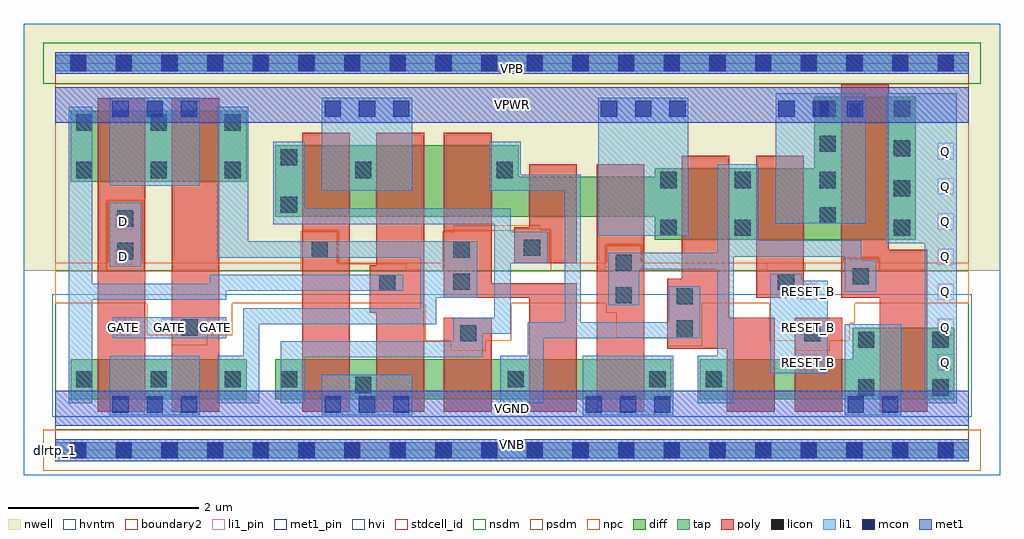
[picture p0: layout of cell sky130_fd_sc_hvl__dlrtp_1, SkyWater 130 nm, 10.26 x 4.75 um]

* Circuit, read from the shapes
.subckt sky130_fd_sc_hvl__dlrtp_1 D GATE Q RESET_B VGND VNB VPB VPWR
XM1 VGND D n1 VNB sky130_fd_pr__nfet_g5v0d10v5 w=0.42 l=0.5
XM2 n2 GATE VGND VNB sky130_fd_pr__nfet_g5v0d10v5 w=0.42 l=0.5
XM3 VGND n2 n3 VNB sky130_fd_pr__nfet_g5v0d10v5 w=0.42 l=0.5
XM4 n4 n1 VGND VNB sky130_fd_pr__nfet_g5v0d10v5 w=0.42 l=0.5
XM5 n5 n3 n4 VNB sky130_fd_pr__nfet_g5v0d10v5 w=0.42 l=0.5
XM6 n6 n2 n5 VNB sky130_fd_pr__nfet_g5v0d10v5 w=0.42 l=0.5
XM7 VGND n7 n6 VNB sky130_fd_pr__nfet_g5v0d10v5 w=0.42 l=0.5
XM8 n8 n5 n7 VNB sky130_fd_pr__nfet_g5v0d10v5 w=0.42 l=0.5
XM9 VGND RESET_B n8 VNB sky130_fd_pr__nfet_g5v0d10v5 w=0.42 l=0.5
XM10 Q n7 VGND VNB sky130_fd_pr__nfet_g5v0d10v5 w=0.75 l=0.5
XM11 VPWR D n1 VPB sky130_fd_pr__pfet_g5v0d10v5 w=0.75 l=0.5
XM12 n2 GATE VPWR VPB sky130_fd_pr__pfet_g5v0d10v5 w=0.75 l=0.5
XM13 VPWR n2 n3 VPB sky130_fd_pr__pfet_g5v0d10v5 w=0.75 l=0.5
XM14 n9 n1 VPWR VPB sky130_fd_pr__pfet_g5v0d10v5 w=0.75 l=0.5
XM15 n5 n2 n9 VPB sky130_fd_pr__pfet_g5v0d10v5 w=0.75 l=0.5
XM16 n10 n3 n5 VPB sky130_fd_pr__pfet_g5v0d10v5 w=0.42 l=0.5
XM17 VPWR n7 n10 VPB sky130_fd_pr__pfet_g5v0d10v5 w=0.42 l=0.5
XM18 n7 n5 VPWR VPB sky130_fd_pr__pfet_g5v0d10v5 w=0.75 l=0.5
XM19 VPWR RESET_B n7 VPB sky130_fd_pr__pfet_g5v0d10v5 w=0.75 l=0.5
XM20 Q n7 VPWR VPB sky130_fd_pr__pfet_g5v0d10v5 w=1.5 l=0.5
.ends

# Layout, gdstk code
import gdstk
lib = gdstk.Library(unit=1e-6, precision=1e-09)
def R(c, l, rs):  # rectangles x0, y0, x1, y1
    for r in rs: c.add(gdstk.rectangle(r[:2], r[2:], *l))
def A(c, l, x, y, w, h, nx, ny, dx, dy):  # array of equal rectangles
    R(c, l, [(x+i*dx, y+j*dy, x+i*dx+w, y+j*dy+h) for i in range(nx) for j in range(ny)])
def P(c, l, *ps):  # polygons
    for p in ps: c.add(gdstk.Polygon(p, *l))
nwell = (64, 20)
diff = (65, 20)
tap = (65, 44)
poly = (66, 20)
licon = (66, 44)
li1_pin = (67, 16)
li1 = (67, 20)
mcon = (67, 44)
met1_pin = (68, 16)
met1 = (68, 20)
hvi = (75, 20)
stdcell_id = (81, 4)
nsdm = (93, 44)
psdm = (94, 20)
npc = (95, 20)
hvntm = (125, 20)
boundary2 = (236, 0)

sky130_fd_sc_hvl__dlrtp_ = lib.new_cell('sky130_fd_sc_hvl__dlrtp_1')
R(sky130_fd_sc_hvl__dlrtp_, nwell, [(-0.33,1.885,9.93,4.485)])
R(sky130_fd_sc_hvl__dlrtp_, diff, [(0.16,0.535,2.01,0.955), (2.31,0.535,6.475,0.955), (0.16,2.82,2.01,3.57)])
P(sky130_fd_sc_hvl__dlrtp_, diff, [(9.045,3.715),(7.975,3.715),(7.975,2.965),(6.3,2.965),(6.3,2.875),(4.87,2.875),(4.87,3.205),(2.31,3.205),(2.31,2.455),(6.3,2.455),(6.3,2.215),(9.045,2.215)],
  [(9.45,1.285),(8.38,1.285),(8.38,0.955),(6.775,0.955),(6.775,0.535),(9.45,0.535)])
R(sky130_fd_sc_hvl__dlrtp_, tap, [(0,-0.085,9.6,0.085), (0,3.985,9.6,4.155)])
R(sky130_fd_sc_hvl__dlrtp_, poly, [(0.445,0.405,0.945,3.7), (1.225,0.405,1.725,3.7), (2.595,0.405,3.095,3.335), (4.085,0.405,4.585,1.395), (5.69,0.405,6.19,3.005), (7.77,0.405,8.27,1.395), (7.365,1.605,7.865,3.095)])
P(sky130_fd_sc_hvl__dlrtp_, poly, [(3.875,3.335),(3.375,3.335),(3.375,1.945),(3.305,1.945),(3.305,1.445),(3.375,1.445),(3.375,0.405),(3.875,0.405)],
  [(5.48,3.005),(4.98,3.005),(4.98,2.345),(4.825,2.345),(4.825,1.965),(5.48,1.965)],
  [(5.48,1.755),(4.585,1.755),(4.585,3.335),(4.085,3.335),(4.085,1.605),(4.98,1.605),(4.98,0.405),(5.48,0.405)],
  [(7.56,1.395),(7.085,1.395),(7.085,3.095),(6.585,3.095),(6.585,1.805),(6.43,1.805),(6.43,1.065),(7.06,1.065),(7.06,0.405),(7.56,0.405)],
  [(9.165,2.105),(8.76,2.105),(8.76,3.845),(8.26,3.845),(8.26,1.605),(8.665,1.605),(8.665,0.405),(9.165,0.405)])
A(sky130_fd_sc_hvl__dlrtp_, licon, 0.155, -0.085, 0.17, 0.17, 20, 2, 0.48, 4.07)
A(sky130_fd_sc_hvl__dlrtp_, licon, 0.22, 0.66, 0.17, 0.17, 3, 2, 0.78, 2.2)
A(sky130_fd_sc_hvl__dlrtp_, licon, 0.22, 3.36, 0.17, 0.17, 3, 1, 0.78, 0)
R(sky130_fd_sc_hvl__dlrtp_, licon, [(8.44,0.575,8.61,0.745), (9.22,0.575,9.39,0.745), (3.15,0.6,3.32,0.77), (2.37,0.66,2.54,0.83), (4.755,0.66,4.925,0.83), (6.245,0.66,6.415,0.83), (6.835,0.66,7.005,0.83), (8.44,1.075,8.61,1.245), (9.22,1.075,9.39,1.245), (4.255,1.145,4.425,1.315), (7.87,1.145,8.04,1.315), (6.53,1.195,6.7,1.365), (1.325,1.205,1.495,1.375), (6.53,1.535,6.7,1.705), (5.89,1.545,6.06,1.715), (3.405,1.675,3.575,1.845), (4.185,1.685,4.355,1.855), (7.595,1.685,7.765,1.855), (8.38,1.745,8.55,1.915), (5.89,1.885,6.06,2.055), (0.65,2.01,0.82,2.18), (2.695,2.025,2.865,2.195), (4.185,2.025,4.355,2.195), (4.925,2.045,5.095,2.215), (6.36,2.255,6.53,2.425), (7.14,2.255,7.31,2.425), (8.815,2.255,8.985,2.425), (0.65,2.35,0.82,2.52), (8.035,2.385,8.205,2.555), (2.37,2.495,2.54,2.665), (8.815,2.67,8.985,2.84), (6.36,2.755,6.53,2.925), (7.14,2.755,7.31,2.925), (8.035,2.755,8.205,2.925), (3.15,2.86,3.32,3.03), (4.64,2.86,4.81,3.03), (2.37,2.995,2.54,3.165), (8.815,3.09,8.985,3.26), (8.035,3.135,8.205,3.305), (8.035,3.505,8.205,3.675), (8.815,3.505,8.985,3.675)])
A(sky130_fd_sc_hvl__dlrtp_, li1_pin, 7.835, 0.84, 0.17, 0.17, 1, 3, 0, 0.37)
A(sky130_fd_sc_hvl__dlrtp_, li1_pin, 9.275, 0.84, 0.17, 0.17, 1, 7, 0, 0.37)
A(sky130_fd_sc_hvl__dlrtp_, li1_pin, 0.635, 1.21, 0.17, 0.17, 3, 1, 0.48, 0)
R(sky130_fd_sc_hvl__dlrtp_, li1_pin, [(0.635,1.95,0.805,2.12), (0.635,2.32,0.805,2.49)])
R(sky130_fd_sc_hvl__dlrtp_, li1, [(0,-0.085,9.6,0.085), (0.57,0.365,1.52,0.995), (2.8,0.365,3.75,0.795), (5.545,0.365,6.495,0.995), (8.3,0.365,8.89,1.325), (0.605,1.175,1.795,1.4), (0.57,1.93,0.9,2.6), (5.705,2.255,6.655,3.705), (7.57,2.385,8.52,3.755), (2.8,2.725,3.75,3.705), (0.57,2.78,1.52,3.705), (0,3.985,9.6,4.155)])
P(sky130_fd_sc_hvl__dlrtp_, li1, [(3.655,1.845),(1.625,1.845),(1.625,1.75),(0.39,1.75),(0.39,3.61),(0.14,3.61),(0.14,0.495),(0.39,0.495),(0.39,1.58),(1.795,1.58),(1.795,1.675),(3.655,1.675)],
  [(4.435,2.195),(2.03,2.195),(2.03,3.61),(1.7,3.61),(1.7,2.025),(3.835,2.025),(3.835,1.495),(1.975,1.495),(1.975,0.995),(1.7,0.995),(1.7,0.495),(2.145,0.495),(2.145,1.325),(4.005,1.325),(4.005,1.605),(4.435,1.605)],
  [(5.175,2.295),(4.785,2.295),(4.785,2.545),(2.62,2.545),(2.62,3.245),(2.29,3.245),(2.29,2.375),(4.615,2.375),(4.615,1.395),(4.185,1.395),(4.185,1.145),(2.37,1.145),(2.37,0.495),(2.62,0.495),(2.62,0.975),(4.495,0.975),(4.495,1.225),(4.785,1.225),(4.785,1.965),(5.175,1.965)],
  [(6.78,1.725),(6.45,1.725),(6.45,1.345),(5.525,1.345),(5.525,2.895),(4.89,2.895),(4.89,3.245),(4.56,3.245),(4.56,2.725),(5.355,2.725),(5.355,1.345),(4.965,1.345),(4.965,0.995),(4.675,0.995),(4.675,0.495),(5.135,0.495),(5.135,1.175),(6.78,1.175)],
  [(8.12,1.78),(7.845,1.78),(7.845,1.855),(7.515,1.855),(7.515,0.81),(8.12,0.81)],
  [(8.63,1.995),(8.47,1.995),(8.47,2.205),(7.39,2.205),(7.39,3.005),(6.96,3.005),(6.96,2.075),(5.81,2.075),(5.81,1.525),(6.14,1.525),(6.14,1.905),(6.96,1.905),(6.96,0.995),(6.755,0.995),(6.755,0.495),(7.13,0.495),(7.13,2.035),(8.3,2.035),(8.3,1.665),(8.63,1.665)],
  [(9.475,3.755),(8.735,3.755),(8.735,2.175),(9.14,2.175),(9.14,0.495),(9.475,0.495)])
A(sky130_fd_sc_hvl__dlrtp_, mcon, 0.6, 0.395, 0.17, 0.17, 3, 2, 0.36, 3.11)
A(sky130_fd_sc_hvl__dlrtp_, mcon, 2.83, 0.395, 0.17, 0.17, 3, 2, 0.36, 3.11)
A(sky130_fd_sc_hvl__dlrtp_, mcon, 5.575, 0.395, 0.17, 0.17, 3, 1, 0.36, 0)
A(sky130_fd_sc_hvl__dlrtp_, mcon, 5.735, 3.505, 0.17, 0.17, 3, 1, 0.36, 0)
A(sky130_fd_sc_hvl__dlrtp_, mcon, 7.6, 3.505, 0.17, 0.17, 3, 1, 0.36, 0)
R(sky130_fd_sc_hvl__dlrtp_, mcon, [(0.155,-0.085,0.325,0.085), (0.155,-0.085,0.325,0.085), (0.635,-0.085,0.805,0.085), (0.635,-0.085,0.805,0.085), (1.115,-0.085,1.285,0.085), (1.115,-0.085,1.285,0.085), (1.595,-0.085,1.765,0.085), (1.595,-0.085,1.765,0.085), (2.075,-0.085,2.245,0.085), (2.075,-0.085,2.245,0.085), (2.555,-0.085,2.725,0.085), (2.555,-0.085,2.725,0.085), (3.035,-0.085,3.205,0.085), (3.035,-0.085,3.205,0.085), (3.515,-0.085,3.685,0.085), (3.515,-0.085,3.685,0.085), (3.995,-0.085,4.165,0.085), (3.995,-0.085,4.165,0.085), (4.475,-0.085,4.645,0.085), (4.475,-0.085,4.645,0.085), (4.955,-0.085,5.125,0.085), (4.955,-0.085,5.125,0.085), (5.435,-0.085,5.605,0.085), (5.435,-0.085,5.605,0.085), (5.915,-0.085,6.085,0.085), (5.915,-0.085,6.085,0.085), (6.395,-0.085,6.565,0.085), (6.395,-0.085,6.565,0.085), (6.875,-0.085,7.045,0.085), (6.875,-0.085,7.045,0.085), (7.355,-0.085,7.525,0.085), (7.355,-0.085,7.525,0.085), (7.835,-0.085,8.005,0.085), (7.835,-0.085,8.005,0.085), (8.315,-0.085,8.485,0.085), (8.315,-0.085,8.485,0.085), (8.795,-0.085,8.965,0.085), (8.795,-0.085,8.965,0.085), (9.275,-0.085,9.445,0.085), (9.275,-0.085,9.445,0.085), (8.33,0.395,8.5,0.565), (8.69,0.395,8.86,0.565), (0.155,3.985,0.325,4.155), (0.155,3.985,0.325,4.155), (0.635,3.985,0.805,4.155), (0.635,3.985,0.805,4.155), (1.115,3.985,1.285,4.155), (1.115,3.985,1.285,4.155), (1.595,3.985,1.765,4.155), (1.595,3.985,1.765,4.155), (2.075,3.985,2.245,4.155), (2.075,3.985,2.245,4.155), (2.555,3.985,2.725,4.155), (2.555,3.985,2.725,4.155), (3.035,3.985,3.205,4.155), (3.035,3.985,3.205,4.155), (3.515,3.985,3.685,4.155), (3.515,3.985,3.685,4.155), (3.995,3.985,4.165,4.155), (3.995,3.985,4.165,4.155), (4.475,3.985,4.645,4.155), (4.475,3.985,4.645,4.155), (4.955,3.985,5.125,4.155), (4.955,3.985,5.125,4.155), (5.435,3.985,5.605,4.155), (5.435,3.985,5.605,4.155), (5.915,3.985,6.085,4.155), (5.915,3.985,6.085,4.155), (6.395,3.985,6.565,4.155), (6.395,3.985,6.565,4.155), (6.875,3.985,7.045,4.155), (6.875,3.985,7.045,4.155), (7.355,3.985,7.525,4.155), (7.355,3.985,7.525,4.155), (7.835,3.985,8.005,4.155), (7.835,3.985,8.005,4.155), (8.315,3.985,8.485,4.155), (8.315,3.985,8.485,4.155), (8.795,3.985,8.965,4.155), (8.795,3.985,8.965,4.155), (9.275,3.985,9.445,4.155), (9.275,3.985,9.445,4.155)])
R(sky130_fd_sc_hvl__dlrtp_, met1_pin, [(0,0,9.6,0.115), (0,0.255,9.6,0.625), (0,3.445,9.6,3.815), (0,3.955,9.6,4.07)])
R(sky130_fd_sc_hvl__dlrtp_, met1, [(0,-0.115,9.6,0.115), (0,0.255,9.6,0.625), (0,3.445,9.6,3.815), (0,3.955,9.6,4.185)])
R(sky130_fd_sc_hvl__dlrtp_, hvi, [(-0.33,-0.265,9.93,4.485)])
R(sky130_fd_sc_hvl__dlrtp_, stdcell_id, [(0,0,9.6,4.07)])
R(sky130_fd_sc_hvl__dlrtp_, nsdm, [(0,0.215,9.6,1.885), (-0.13,3.855,9.73,4.285), (0,3.855,9.6,4.07)])
R(sky130_fd_sc_hvl__dlrtp_, psdm, [(-0.13,-0.215,9.73,0.215)])
P(sky130_fd_sc_hvl__dlrtp_, psdm, [(9.6,3.855),(0,3.855),(0,1.885),(0.54,1.885),(0.54,2.63),(0.93,2.63),(0.93,1.885),(2.585,1.885),(2.585,2.305),(2.975,2.305),(2.975,1.955),(3.685,1.955),(3.685,1.885),(4.075,1.885),(4.075,2.305),(4.815,2.305),(4.815,2.325),(5.205,2.325),(5.205,1.885),(5.78,1.885),(5.78,2.165),(6.17,2.165),(6.17,1.885),(7.485,1.885),(7.485,1.965),(7.875,1.965),(7.875,1.885),(8.27,1.885),(8.27,2.025),(8.66,2.025),(8.66,1.885),(9.6,1.885)])
P(sky130_fd_sc_hvl__dlrtp_, npc, [(9.6,1.97),(8.65,1.97),(8.65,2.015),(8.28,2.015),(8.28,1.97),(6.16,1.97),(6.16,2.155),(5.79,2.155),(5.79,1.97),(5.195,1.97),(5.195,2.315),(5.09,2.315),(5.09,2.365),(4.19,2.365),(4.19,2.295),(4.085,2.295),(4.085,1.97),(2.965,1.97),(2.965,2.295),(2.595,2.295),(2.595,1.97),(0.92,1.97),(0.92,2.62),(0.55,2.62),(0.55,1.97),(0,1.97),(0,1.545),(0.96,1.545),(0.96,1.21),(1.225,1.21),(1.225,1.105),(1.595,1.105),(1.595,1.21),(1.86,1.21),(1.86,1.545),(3.89,1.545),(3.89,1.15),(4.155,1.15),(4.155,1.045),(4.525,1.045),(4.525,1.15),(4.79,1.15),(4.79,1.545),(5.79,1.545),(5.79,1.445),(5.895,1.445),(5.895,1.18),(6.43,1.18),(6.43,1.095),(6.8,1.095),(6.8,1.545),(7.505,1.545),(7.505,1.15),(7.77,1.15),(7.77,1.045),(8.14,1.045),(8.14,1.15),(8.35,1.15),(8.35,1.335),(8.405,1.335),(8.405,1.545),(9.6,1.545)])
R(sky130_fd_sc_hvl__dlrtp_, hvntm, [(-0.035,0.35,9.635,1.64)])
R(sky130_fd_sc_hvl__dlrtp_, boundary2, [(0,0,9.6,4.07)])
sky130_fd_sc_hvl__dlrtp_.add(gdstk.Label('dlrtp_1', (0,0), layer=83, texttype=44))
sky130_fd_sc_hvl__dlrtp_.add(gdstk.Label('VGND', (4.8,0.44), layer=68, texttype=5))
sky130_fd_sc_hvl__dlrtp_.add(gdstk.Label('VNB', (4.8,0.058), layer=68, texttype=5))
sky130_fd_sc_hvl__dlrtp_.add(gdstk.Label('VPWR', (4.8,3.63), layer=68, texttype=5))
sky130_fd_sc_hvl__dlrtp_.add(gdstk.Label('VPB', (4.8,4.013), layer=68, texttype=5))
sky130_fd_sc_hvl__dlrtp_.add(gdstk.Label('D', (0.72,2.035), layer=67, texttype=5))
sky130_fd_sc_hvl__dlrtp_.add(gdstk.Label('D', (0.72,2.405), layer=67, texttype=5))
sky130_fd_sc_hvl__dlrtp_.add(gdstk.Label('GATE', (0.72,1.295), layer=67, texttype=5))
sky130_fd_sc_hvl__dlrtp_.add(gdstk.Label('GATE', (1.2,1.295), layer=67, texttype=5))
sky130_fd_sc_hvl__dlrtp_.add(gdstk.Label('GATE', (1.68,1.295), layer=67, texttype=5))
sky130_fd_sc_hvl__dlrtp_.add(gdstk.Label('RESET_B', (7.92,0.925), layer=67, texttype=5))
sky130_fd_sc_hvl__dlrtp_.add(gdstk.Label('RESET_B', (7.92,1.295), layer=67, texttype=5))
sky130_fd_sc_hvl__dlrtp_.add(gdstk.Label('RESET_B', (7.92,1.665), layer=67, texttype=5))
sky130_fd_sc_hvl__dlrtp_.add(gdstk.Label('Q', (9.36,0.925), layer=67, texttype=5))
sky130_fd_sc_hvl__dlrtp_.add(gdstk.Label('Q', (9.36,1.295), layer=67, texttype=5))
sky130_fd_sc_hvl__dlrtp_.add(gdstk.Label('Q', (9.36,1.665), layer=67, texttype=5))
sky130_fd_sc_hvl__dlrtp_.add(gdstk.Label('Q', (9.36,2.035), layer=67, texttype=5))
sky130_fd_sc_hvl__dlrtp_.add(gdstk.Label('Q', (9.36,2.405), layer=67, texttype=5))
sky130_fd_sc_hvl__dlrtp_.add(gdstk.Label('Q', (9.36,2.775), layer=67, texttype=5))
sky130_fd_sc_hvl__dlrtp_.add(gdstk.Label('Q', (9.36,3.145), layer=67, texttype=5))

lib.write_gds('sky130_fd_sc_hvl__dlrtp_1.gds')
